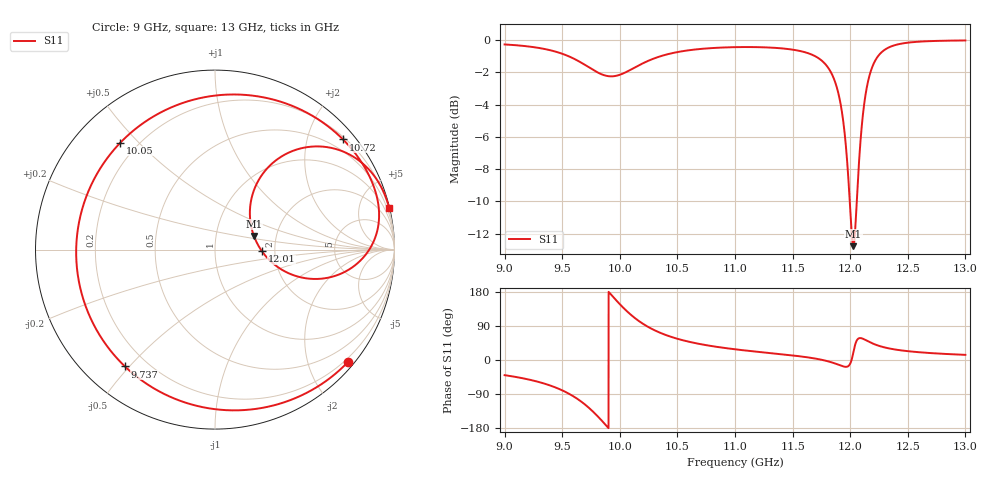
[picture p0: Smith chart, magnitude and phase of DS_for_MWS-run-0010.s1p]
! TOUCHSTONE file generated by CST DESIGN STUDIO
! Date and time: Tue Feb  4 14:21:50 2025
! Project name: C:\Work\MatlabApps\UnitCellOptimizationMatlab\CST\unitcell.cst
! Tree item: Tasks\Sweep1\SPara1\S-Parameters
! Header version: 2024
! Port assignment regex: !\s*Touchstone port\s*([0-9]+)\s*=\s*(CST MWS port|CST DES external port|CST DES block port)\s*(.+)\s* \(\"(.*)\"\)(\s*mode\s*([0-9]+))?.*
! Touchstone port assignment:
! Touchstone port 1 = CST DES external port 1 ("")
# GHz S MA R 50
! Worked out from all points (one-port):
!   4001 points, 9 GHz to 13 GHz, reference 50 ohm
!   lowest |S11| = -12.8 dB at 12.03 GHz (marker M1), VSWR 1.60, Z = 76.5 + j12.3 ohm
!   |S11| at or under -10 dB: 12 GHz to 12.06 GHz (60.75 MHz wide, 0.505 % of centre)
!   S11 on the Smith chart (normalised r, x): 9 GHz: 0.13, -2.74; 9.737 GHz: 0.12, -0.49; 10.05 GHz: 0.14, +0.44; 10.72 GHz: 0.25, +2.68; 12.01 GHz: 1.71, -0.03; 13 GHz: 0.06, +8.40
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9  0.9703 -40.0
9.28  0.9485 -56.7
9.5  0.9079 -80.1
9.63  0.8659 -102.2
9.737  0.8219 -127.6
9.875  0.7768 -170.6
9.936  0.7727 168.5
10  0.7813 147.3
10.052  0.7956 131.5
10.134  0.8244 110.0
10.226  0.8566 90.8
10.357  0.8927 71.0
10.5  0.9188 56.0
10.721  0.9409 40.7
11  0.9517 28.3
11.5  0.9349 12.0
11.7  0.8905 3.7
11.824  0.8056 -4.9
11.93  0.5936 -16.0
12  0.2998 -9.7
12.01  0.2614 -1.9
12.027  0.2298 19.4
12.06  0.3312 53.0
12.098  0.5302 57.4
12.159  0.7561 48.7
12.29  0.9288 33.8
12.5  0.9826 23.3
13  0.9983 13.6
